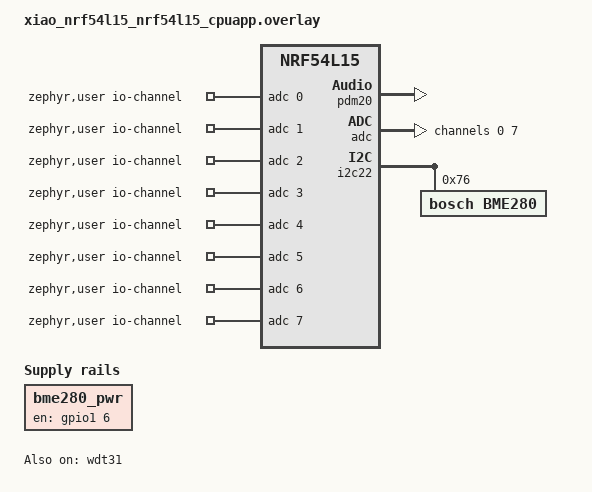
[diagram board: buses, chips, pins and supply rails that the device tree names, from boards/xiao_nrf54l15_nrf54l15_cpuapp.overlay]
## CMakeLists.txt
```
#
# Copyright (c) 2018 Nordic Semiconductor
#
# SPDX-License-Identifier: LicenseRef-Nordic-5-Clause
#
cmake_minimum_required(VERSION 3.20.0)

find_package(Zephyr REQUIRED HINTS $ENV{ZEPHYR_BASE})
project(NONE)

# NORDIC SDK APP START
target_sources(app PRIVATE src/main.cpp)
target_sources(app PRIVATE src/adc.c)
target_sources(app PRIVATE src/bme280.c)
target_sources(app PRIVATE src/wdt.c)
target_sources(app PRIVATE ../../src/BaseDevice.cpp)
target_sources(app PRIVATE ../../src/BtHomeV2Device.cpp)

# NORDIC SDK APP END
zephyr_library_include_directories(.)
```

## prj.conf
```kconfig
#
# Copyright (c) 2018 Nordic Semiconductor
#
# SPDX-License-Identifier: LicenseRef-Nordic-5-Clause
#
CONFIG_PM_DEVICE=y

# Bluetooth LE
# STEP 1 - Include the Bluetooth LE stack in your project
CONFIG_BT=y
CONFIG_BT_PERIPHERAL=y

# STEP 2 - Set the Bluetooth LE device name
# CONFIG_BT_DEVICE_NAME="Nordic_Beacon"
CONFIG_BT_DEVICE_NAME="NB"

CONFIG_ADC=y
CONFIG_I2C=y
CONFIG_SENSOR=y
CONFIG_SENSOR_ASYNC_API=y
CONFIG_REGULATOR=y
CONFIG_GPIO=y
CONFIG_BME280=y
CONFIG_BME280_MODE_FORCED=y
# CONFIG_PWM=y
CONFIG_WATCHDOG=y

CONFIG_NRFX_POWER=y
CONFIG_POWEROFF=y
CONFIG_RETAINED_MEM=y
CONFIG_STATIC_INIT_GNU=y

CONFIG_CPP=y
CONFIG_REQUIRES_FULL_LIBCPP=y
CONFIG_BT_EAD=y

# =========================================================
# Serial port and console configuration
# =========================================================
CONFIG_SERIAL=n
CONFIG_CONSOLE=y
CONFIG_UART_CONSOLE=y
CONFIG_CBPRINTF_FP_SUPPORT=y

# =========================================================
# Log and Debugging
# =========================================================
CONFIG_LOG=y
CONFIG_PRINTK=y
CONFIG_LOG_PRINTK=n
CONFIG_LOG_MODE_IMMEDIATE=n
CONFIG_LOG_DEFAULT_LEVEL=3

# =========================================================
#  Memory and Stack
# =========================================================
CONFIG_MAIN_STACK_SIZE=4096
CONFIG_HEAP_MEM_POOL_SIZE=16384
CONFIG_SYSTEM_WORKQUEUE_STACK_SIZE=4096
# CONFIG_NEWLIB_LIBC=y
# CONFIG_NEWLIB_LIBC_FLOAT_PRINTF=y
```

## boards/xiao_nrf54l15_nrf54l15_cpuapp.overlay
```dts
/ {
	zephyr,user {
		io-channels = <&adc 0>,
					  <&adc 1>,
					  <&adc 2>,
					  <&adc 3>,
					  <&adc 4>,
					  <&adc 5>,
					  <&adc 6>,
					  <&adc 7>;
	};
	bme280_pwr: bme280_pwr {
		compatible = "regulator-fixed";
		regulator-name = "bme280_pwr";
        // GPIO D2 = P1.6 on the XIAO nRF54L15
		enable-gpios = <&gpio1 6 GPIO_ACTIVE_HIGH>;
	};
};

&wdt31 {
	status = "okay";
};

dmic_dev: &pdm20 {
    status = "okay";
};

&vbat_pwr {
	/delete-property/ regulator-boot-on;
};

&rfsw_pwr {
	/delete-property/ regulator-boot-on;
};

&pdm_imu_pwr{
    /delete-property/ regulator-boot-on;
};

&temp {
	status = "disabled";
};

&adc {
	channel@0 {
		reg = <0>;
		zephyr,gain = "ADC_GAIN_2";
		zephyr,reference = "ADC_REF_INTERNAL";
		zephyr,acquisition-time = <0>;
		zephyr,input-positive = <NRF_SAADC_AIN0>;
		zephyr,input-negative = <NRF_SAADC_AIN1>;
		zephyr,differential;
		zephyr,resolution = <14>;
	};

	channel@7 {
		reg = <7>;
		zephyr,gain = "ADC_GAIN_1_4";
		zephyr,reference = "ADC_REF_INTERNAL";
		zephyr,acquisition-time = <0>;
		zephyr,resolution = <14>;
	};
};

&i2c22 {
	bme280@76 {
		compatible = "bosch,bme280";
		reg = <0x76>;
		zephyr,deferred-init;
	};
	zephyr,deferred-init;
};

/* Board alias often points xiao_serial -> &uart21; kill it to be safe. */
&uart21 {
	status = "disabled";
};
```

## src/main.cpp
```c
/*
  A ultra low power Home Assistant/BtHome temperature/humidity/pressure sensor device with XIAO nrf54L15
  Average current consumption is as low as 12µA! Can be even more reduced with longer sleep time.
  Current during LowPower.deepSleep() would be less, but waking up from deep sleep needs a lot of energy. 
  So LowPower.sleep() is the better choice for this sensor with TIME_TO_SLEEP=15s.
  At 12µA, the sensor should run for more than 3 years on a 350mAh LiPo battery.
 */

#include <zephyr/logging/log.h>

LOG_MODULE_REGISTER(SolarSensor54l15, LOG_LEVEL_INF);

#define USE_EXT_ANT			0
#define USE_BME280			1
#define USE_ENCRYPTION		1

#define TIME_TO_SLEEP		15
#define TIME_TO_SLEEP_LOW	(60*5)

#include <zephyr/bluetooth/bluetooth.h>
#include <zephyr/bluetooth/uuid.h>

#include <zephyr/drivers/regulator.h>
#include <zephyr/drivers/gpio.h>

#include <zephyr/device.h>
#include <zephyr/pm/device.h>
#include <zephyr/pm/device_runtime.h>

#include <zephyr/sys/poweroff.h>
#include <zephyr/drivers/timer/nrf_grtc_timer.h>
#include <zephyr/drivers/retained_mem.h>

#include "adc.h"
#include "bme280.h"
#include "wdt.h"
#include "../../src/BtHomeV2Device.h"
#include <string>

#if !DT_NODE_EXISTS(DT_PATH(zephyr_user)) || \
 !DT_NODE_HAS_PROP(DT_PATH(zephyr_user), io_channels)
	#error "No suitable devicetree overlay specified"
#endif

/****************************************** BTHOME KEY **********************************************/
#if USE_ENCRYPTION
//  91CDEC4192407AEC3F6FCF04AAB6F7A4
static const uint8_t bindKey[16] = {
	0x91, 0xCD, 0xEC, 0x41, 0x92, 0x40, 0x7A, 0xEC, 
	0x3F, 0x6F, 0xCF, 0x04, 0xAA, 0xB6, 0xF7, 0xA4 
};
#endif

/****************************************** WDT **********************************************/
#define WDT_MAX_WINDOW  ((TIME_TO_SLEEP_LOW + 60)*1000)
#define WDT_MIN_WINDOW  0U
#define WDT_OPT WDT_OPT_PAUSE_HALTED_BY_DBG

/****************************************** DEVICES **********************************************/
static const struct device *const vbat_reg = DEVICE_DT_GET(DT_NODELABEL(vbat_pwr));
static const struct device *const rfsw_pwr_reg = DEVICE_DT_GET(DT_NODELABEL(rfsw_pwr));
#if USE_EXT_ANT	
static const struct device *const rfsw_ctl_reg = DEVICE_DT_GET(DT_NODELABEL(rfsw_ctl));
#endif
static const struct device *const i2c22_dev = DEVICE_DT_GET(DT_NODELABEL(i2c22));
static const struct device *const i2c30_dev = DEVICE_DT_GET(DT_NODELABEL(i2c30));
static const struct gpio_dt_spec led = GPIO_DT_SPEC_GET(DT_ALIAS(led0), gpios);

/****************************************** BLINK_CODE **********************************************/
void blinkCode(int code)
{
	while(true) {
		for (int i = 0; i < code; i++) {
			gpio_pin_set_dt(&led, 0);
			k_sleep(K_MSEC(100));
			gpio_pin_set_dt(&led, 1);
			k_sleep(K_MSEC(300));
		}
		k_sleep(K_MSEC(1000));
	}
}

/****************************************** ADVERTISING **********************************************/
#define ADV_PARAM BT_LE_ADV_PARAM(BT_LE_ADV_OPT_USE_IDENTITY, \
				  32, \
				  33, NULL)

/****************************************** BTHome Header **********************************************/
static struct bt_data ad[] = {
	BT_DATA_BYTES(BT_DATA_FLAGS, BT_LE_AD_GENERAL | BT_LE_AD_NO_BREDR), // 3 bytes { len 0x02 type 0x01 data 0x06 }
	BT_DATA(BT_DATA_SVC_DATA16, NULL, 0)
};

int advertize(BtHomeV2Device *pDev)
{
	uint8_t advertisementData[MAX_ADVERTISEMENT_SIZE];
	uint8_t size = pDev->getAdvertisementData(advertisementData);
	// skip first 5 bytes, already in ad struct:
	// 1 length=(2)
	// 2 BT_DATA_FLAGS 
	// 3 BT_LE_AD_GENERAL | BT_LE_AD_NO_BREDR
	// 4 length=X 
	// 5 BT_DATA_SVC_DATA16
	ad[1].data_len = size - 5;
	ad[1].data = &advertisementData[5];

	/* Start advertising for 5+95ms */
	int err = bt_le_adv_start(ADV_PARAM, ad, ARRAY_SIZE(ad), NULL, 0);
	if (err) {
		LOG_ERR("Advertising failed to start (err %d)\n", err);
		return 0;
	}
	/* Flash led for 5ms */
	err = gpio_pin_set_dt(&led, 0);
	if (err < 0) {
		LOG_ERR("gpio_pin_set_dt failed (err %d)\n", err);
	}		
	k_sleep(K_MSEC(5));
	err = gpio_pin_set_dt(&led, 1);
	if (err < 0) {
		LOG_ERR("gpio_pin_set_dt failed (err %d)\n", err);
	}		
	k_sleep(K_MSEC(95));
	err = bt_le_adv_stop();
	if (err) {
		LOG_ERR("Advertising failed to stop (err %d)\n", err);
		return -1;
	}
	return 0;
}

/****************************************** MAIN **********************************************/

int main(void)
{
	int err;
	uint32_t counter = 0;

	LOG_INF("Starting BTHome sensor template\n");

	// Initialize watchdog
	int32_t wdt_channel_id = init_wdt(WDT_MIN_WINDOW, WDT_MAX_WINDOW, WDT_OPT);
	if (wdt_channel_id < 0) {
		return 0;
	}

	err = gpio_pin_configure_dt(&led, GPIO_OUTPUT_ACTIVE);
	if (err < 0) {
		LOG_ERR("LED GPIO configure failed %d\n", err);
  		return 0;
	}	
	err = gpio_pin_set_dt(&led, 0);
	if (err < 0) {
		LOG_ERR("gpio_pin_set_dt failed (err %d)\n", err);
	}
	// Suspend i2c30: save 145µA while sleeping
	err = pm_device_action_run(i2c30_dev, PM_DEVICE_ACTION_SUSPEND);
	if (err) {
		LOG_ERR("Suspend %s failed %d\n", i2c30_dev->name, err);
	}
	if (!gpio_is_ready_dt(&led)) {
		LOG_ERR("LED GPIO not ready\n");
  		return 0;
	}
	// ADC channel 0 for solar current
	err = adcSetup(0);
	if (err < 0) {
		return 0;
	}
	// ADC channel 7 for battery voltage
	err = adcSetup(7);
	if (err < 0) {
		return 0;
	}
	err = device_init(i2c22_dev);	
	if (err) {
		LOG_ERR("\nDevice %s init failed %d\n", i2c22_dev->name, err);
		return 0;
	}
#if USE_BME280	
	int err_bme280 = bme280_init();	
	if (err_bme280) {
		blinkCode(2);
		return err_bme280;
	}
#endif	
	err = pm_device_action_run(i2c22_dev, PM_DEVICE_ACTION_SUSPEND);
	if (err) {
		LOG_ERR("Suspend %s failed %d\n", i2c22_dev->name, err);
	}
#if USE_EXT_ANT	
	regulator_disable(rfsw_ctl_reg);	
#endif

	/* Initialize the Bluetooth Subsystem */
	err = bt_enable(NULL);
	if (err) {
		LOG_ERR("Bluetooth init failed (err %d)\n", err);
		return 0;
	}
	LOG_INF("Bluetooth initialized\n");

#if USE_ENCRYPTION
	bt_le_oob oob;
	bt_le_oob_get_local(BT_ID_DEFAULT, &oob);
	// Leave short and complete name empty, device will be identified by MAC address
	BtHomeV2Device dev("", "", false, bindKey, oob.addr.a.val);
#else
	BtHomeV2Device dev("", "", true);
#endif		

	while(1) {
		feed_wdt(wdt_channel_id);

#if USE_BME280	
		err = pm_device_action_run(i2c22_dev, PM_DEVICE_ACTION_RESUME);
		if (err != 0) {
			LOG_ERR("%s: pm_device_action_run() RESUME failed: %d\n", i2c22_dev->name, err);
		}
		float temp = 0, hum = 0, press = 0;
		err = bme280_read(&temp, &hum, &press);
		if (err != 0) {
			return err;
		}
		// Suspend i2c22: save 100µA while sleeping
		err = pm_device_action_run(i2c22_dev, PM_DEVICE_ACTION_SUSPEND);
		if (err != 0) {
			LOG_ERR("%s: pm_device_action_run() SUSPEND failed: %d\n", i2c22_dev->name, err);
		}		
#endif		
		int32_t val_mv;
		regulator_enable(vbat_reg);	
		// Wait 5ms for voltage divider to settle
		k_sleep(K_MSEC(5));		
		// Read battery voltage on channel 7 (pin AIN7/P1.14)
		adcRead(&val_mv, NULL, 7);
		// Disable battery voltage divider switch supply: save 250µA while sleeping
	 	regulator_disable(vbat_reg);
		// Voltage divider divides by 2
		val_mv *= 2;

		int32_t raw;
		// Read solar current on channel 0 (differential mode, pins AIN0/P1.04 and AIN1/P1.05)
		adcRead(NULL, &raw, 0);
		// shunt 10R, 14bits resolution, internal reference (0.9V), gain 2, oversampling 8
		int32_t current_ua = raw*90000/16383;

		counter++;

		// Enable antenna switch supply
		regulator_enable(rfsw_pwr_reg);	

		// Collect data for advertising packet 1
		dev.resetMeasurement();

		// Available bytes with encryption: 11, else 23
		// 11
		if (!dev.addCount_0_4294967295(counter)) {
			LOG_ERR("addCount_0_4294967295 failed");
		}
		// 6
		if (!dev.addVoltage_0_to_65_resolution_0_001(val_mv*0.001f)) {
			LOG_ERR("addVoltage_0_to_65_resolution_0_001 failed");
		}
		// 3
		if (!dev.addTemperature_neg327_to_327_Resolution_0_01(temp)) {
			LOG_ERR("addTemperature_neg327_to_327_Resolution_0_01 failed");
		}
		// 0
		// Advertize packet 1
		advertize(&dev);

		// Collect data for advertising packet 2
		dev.resetMeasurement();
		// 11
		if (bme280_chipId() == BME280_CHIP_ID) {
			if (!dev.addHumidityPercent_Resolution_0_01(hum)) {
				LOG_ERR("addHumidityPercent_Resolution_0_01 failed");
			}
		}
		// 7
		if (!dev.addCurrentAmps_neg32_to_32_Resolution_0_001(current_ua*0.001f)) {
			LOG_ERR("addCurrentAmps_neg32_to_32_Resolution_0_001 failed");
		}
		// 4
		if (!dev.addPressureHpa(press)) {
			LOG_ERR("addPressureHpa failed");
		}
		// 0
		// Advertize packet 2
		advertize(&dev);

		// Disable antenna switch supply: save 67µA while sleeping
		regulator_disable(rfsw_pwr_reg);
		if (val_mv < 3500) {
			k_sleep(K_MSEC(TIME_TO_SLEEP_LOW*1000));
		} else {
			k_sleep(K_MSEC(TIME_TO_SLEEP*1000));
		}
	}
	return 0;
}
```

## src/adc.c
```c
/*
  Wrapper for ADC
 */

#include "adc.h"

LOG_MODULE_REGISTER(SolarSensor54l15AnalogIO, LOG_LEVEL_INF);

#define DT_SPEC_AND_COMMA(node_id, prop, idx) ADC_DT_SPEC_GET_BY_IDX(node_id, idx),

/* Data of ADC io-channels specified in devicetree. */
static const struct adc_dt_spec adc_channels[] = {
 	DT_FOREACH_PROP_ELEM(DT_PATH(zephyr_user), io_channels, DT_SPEC_AND_COMMA)
};

/**
 * 
 */
int adcSetup(uint8_t channel)
{
	int err;

	LOG_INF("channel %d gain %d", channel, adc_channels[channel].channel_cfg.gain);

 	/* Configure channels individually prior to sampling. */
 	if (!adc_is_ready_dt(&adc_channels[channel])) {
  		LOG_ERR("ADC controller device %s not ready\n", adc_channels[channel].dev->name);
  		return -1;
 	}

 	err = adc_channel_setup_dt(&adc_channels[channel]);
 	if (err < 0) {
  		LOG_ERR("Could not setup channel #%d (%d)\n", channel, err);
  		return -1;
 	}

	return 0;
}

int adcRead(int32_t *pValMV, int32_t *pRaw, uint8_t channel)
{
	int err;
	uint16_t buf;
	
	struct adc_sequence sequence = {
		.buffer = &buf,
		/* buffer size in bytes, not number of samples */
		.buffer_size = sizeof(buf),
	};

 	(void)adc_sequence_init_dt(&adc_channels[channel], &sequence);

 	err = adc_read_dt(&adc_channels[channel], &sequence);
 	if (err < 0) {
  		LOG_ERR("Could not read (%d)\n", err);
  		return err;
 	}	

 	/*
  	 * If using differential mode, the 16 bit value
     * in the ADC sample buffer should be a signed 2's
     * complement value.
  	*/
	int32_t raw;
 	if (adc_channels[channel].channel_cfg.differential) {
  		raw = (int32_t)((int16_t)buf);
 	} else {
  		raw = (int32_t)buf;
 	}
	if (pRaw != NULL) {
		*pRaw = raw;
	}
	uint32_t tmp = raw;
	if (pValMV != NULL) {
		err = adc_raw_to_millivolts_dt(&adc_channels[channel], &raw);
		/* conversion to mV may not be supported, skip if not */
		if (err < 0) {
			LOG_ERR(" value in mV not available\n");
			return err;
		}
		LOG_INF("channel %d voltage = %" PRId32 " mV raw = %d\n", channel, raw, tmp);
		*pValMV = raw;
	} else {
		LOG_INF("channel %d raw = %d\n", channel, raw);
	}
	return 0;
}
```

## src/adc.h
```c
#pragma once
/*
  Wrapper for ADC
 */

#include <zephyr/logging/log.h>
#include <zephyr/drivers/adc.h>

#ifdef __cplusplus
extern "C" {
#endif

/**
 * @brief Initialize given ADC channel
 *
 * @param channel index of ADC channel
 *
 * @retval 0 if initialization was successfull, negative value otherwise
 */
extern int adcSetup(uint8_t channel);
/**
 * @brief Read value from ADC channel
 *
 * @param pValMV pointer to result in milli volts, may be NULL
 * @param pRaw pointer to raw value, may be NULL
 *
 * @retval 0 if value could be read, negative value otherwise
 */
extern int adcRead(int32_t *pValMV, int32_t *pRaw, uint8_t channel);

#ifdef __cplusplus
}
#endif
```

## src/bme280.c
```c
/*
  Wrapper for Bosch BME280/BMP280
 */

#include "bme280.h"

LOG_MODULE_REGISTER(SolarSensor54l15bme280, LOG_LEVEL_INF);

SENSOR_DT_READ_IODEV(iodev, DT_COMPAT_GET_ANY_STATUS_OKAY(bosch_bme280),
		{SENSOR_CHAN_AMBIENT_TEMP, 0},
		{SENSOR_CHAN_HUMIDITY, 0},
		{SENSOR_CHAN_PRESS, 0});

RTIO_DEFINE(ctx, 1, 1);

static const struct device *const bme280_dev = DEVICE_DT_GET_ANY(bosch_bme280);

int bme280_init(void)
{
	int err = device_init(bme280_dev);	
	if (err) {
		LOG_ERR("\nDevice %s init failed %d\n", bme280_dev->name, err);
		return err;
	}
	err = pm_device_action_run(bme280_dev, PM_DEVICE_ACTION_SUSPEND);
	if (err) {
		LOG_ERR("\nDevice %s pm_device_action_run failed %d\n", bme280_dev->name, err);
		return err;
	}
    return 0;
}

int bme280_check_device(void)
{
	if (bme280_dev == NULL) {
		/* No such node, or the node does not have status "okay". */
		LOG_ERR("\nError: no device found.\n");
		return -1;
	}
	if (!device_is_ready(bme280_dev)) {
		LOG_ERR("Error: Device \"%s\" is not ready; "
		       "check the driver initialization logs for errors.\n",
		       bme280_dev->name);
		return -2;
	}

	LOG_INF("Found device \"%s\", getting sensor data\n", bme280_dev->name);
	return 0;
}

int bme280_chipId(void)
{
    if (bme280_dev != NULL && bme280_dev->state->initialized) {
        const struct bme280_data *pData = (const struct bme280_data *)bme280_dev->data;
        return pData->chip_id;        
    }
    return BMX280_CHIP_ID_NA;
}

int bme280_read(float *pTemp, float *pHum, float *pPress)
{
    int err;
	uint8_t buf[128];
    
    if (bme280_dev != NULL) {
        err = pm_device_action_run(bme280_dev, PM_DEVICE_ACTION_RESUME);
        if (err != 0) {
            LOG_ERR("%s: pm_device_action_run() RESUME failed: %d\n", bme280_dev->name, err);
        }
        err = bme280_check_device();

        if (err == 0) {

            // bme280_channel_get
            err = sensor_read(&iodev, &ctx, buf, 128);
            if (err != 0) {
                LOG_ERR("%s: sensor_read() failed: %d\n", bme280_dev->name, err);
                return err;
            }
            const struct sensor_decoder_api *decoder;
            err = sensor_get_decoder(bme280_dev, &decoder);

            if (err != 0) {
                LOG_ERR("%s: sensor_get_decode() failed: %d\n", bme280_dev->name, err);
                return err;
            }		
            
            if (pTemp != NULL) {
                uint32_t temp_fit = 0;
                struct sensor_q31_data temp_data = {0};                
                if (decoder->decode(buf, (struct sensor_chan_spec) {SENSOR_CHAN_AMBIENT_TEMP, 0}, &temp_fit, 1, &temp_data) > 0)
                {
                    *pTemp = temp_data.readings[0].temperature*1.0f/32768.0f;
                    LOG_INF("temp: %.2f", (double)*pTemp);
                }
            }

            if (pPress != NULL) {
                uint32_t press_fit = 0;
                struct sensor_q31_data press_data = {0};
                if (decoder->decode(buf, (struct sensor_chan_spec) {SENSOR_CHAN_PRESS, 0}, &press_fit, 1, &press_data) > 0)
                {
                    *pPress = press_data.readings[0].pressure*10.0f/256.0f;
                    LOG_INF("press: %.2f", (double)*pPress);
                }
            }

            if (pHum != NULL && bme280_chipId() == BME280_CHIP_ID) {
                uint32_t hum_fit = 0;
                struct sensor_q31_data hum_data = {0};
                if (decoder->decode(buf, (struct sensor_chan_spec) {SENSOR_CHAN_HUMIDITY, 0}, &hum_fit, 1, &hum_data) > 0) 
                {
                    *pHum = hum_data.readings[0].humidity*1.0f/1024.0f;
                    LOG_INF("hum: %.2f", (double)*pHum);
                }
            }
        }
        err = pm_device_action_run(bme280_dev, PM_DEVICE_ACTION_SUSPEND);
        if (err != 0) {
            LOG_ERR("%s: pm_device_action_run() SUSPEND failed: %d\n", bme280_dev->name, err);
        }
    }
    return 0;
}
```

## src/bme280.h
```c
#pragma once

/*
  Wrapper for Bosch BME280/BMP280
 */

#include <zephyr/logging/log.h>
#include <zephyr/drivers/sensor.h>
#include <zephyr/device.h>
#include <zephyr/pm/device.h>
#include <zephyr/pm/device_runtime.h>

#ifdef __cplusplus
extern "C" {
#endif

#define BMX280_CHIP_ID_NA       0x00
#define BMP280_CHIP_ID_MP       0x58
#define BME280_CHIP_ID          0x60

struct bme280_decoder_header {
	uint64_t timestamp;
} __attribute__((__packed__));

struct bme280_reading {
	/* Compensated values. */
	int32_t comp_temp;
	uint32_t comp_press;
	uint32_t comp_humidity;
};

struct bme280_encoded_data {
	struct bme280_decoder_header header;
	struct {
		/** Set if `temp` has data */
		uint8_t has_temp: 1;
		/** Set if `press` has data */
		uint8_t has_press: 1;
		/** Set if `humidity` has data */
		uint8_t has_humidity: 1;
	} __attribute__((__packed__));
	struct bme280_reading reading;
};

struct bme280_data {
	/* Compensation parameters. */
	uint16_t dig_t1;
	int16_t dig_t2;
	int16_t dig_t3;
	uint16_t dig_p1;
	int16_t dig_p2;
	int16_t dig_p3;
	int16_t dig_p4;
	int16_t dig_p5;
	int16_t dig_p6;
	int16_t dig_p7;
	int16_t dig_p8;
	int16_t dig_p9;
	uint8_t dig_h1;
	int16_t dig_h2;
	uint8_t dig_h3;
	int16_t dig_h4;
	int16_t dig_h5;
	int8_t dig_h6;

	/* Carryover between temperature and pressure/humidity compensation. */
	int32_t t_fine;

	uint8_t chip_id;

	struct bme280_reading reading;
};

/**
 * @brief Initialize sensor
 *
 * @retval 0 if initialization was successfull, negative value otherwise
 */
extern int bme280_init(void);
/**
 * @brief Check if sensor is ready
 *
 * @retval 0 if sensor is ready, negative value otherwise
 */
extern int bme280_check_device(void);
/**
 * @brief Read values from sensor
 *
 * @param pTemp pointer to temperature value in °C, may be NULL
 * @param pHum pointer to humidity value on %, may be NULL
 * @param pPress pointer to pressure in hPa, may be NULL
 * 
 * @retval 0 if sensor could be read, negative value otherwise
 */
extern int bme280_read(float *pTemp, float *pHum, float *pPress);
/**
 * @brief Get chip ID
 * 
 * @retval BMX280_CHIP_ID_NA: unknown device, BMP280_CHIP_ID_MP: BMP280, BME280_CHIP_ID: BME280
 */
extern int bme280_chipId(void);

#ifdef __cplusplus
}
#endif
```

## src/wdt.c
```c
/*
  Wrapper for watchdog timer
 */

#include "wdt.h"

LOG_MODULE_REGISTER(SolarSensor54l15wdt, LOG_LEVEL_INF);

static const struct device *const wdt = DEVICE_DT_GET(DT_ALIAS(watchdog0));

int init_wdt(int32_t minWindow, int32_t maxWindow, int32_t options)
{
	if (!device_is_ready(wdt)) {
		LOG_ERR("%s: device not ready.\n", wdt->name);
		return -1;
	}	
	struct wdt_timeout_cfg wdt_config = {
		/* Reset SoC when watchdog timer expires. */
		.flags = WDT_FLAG_RESET_SOC,
		/* Expire watchdog after max window */
		.window.min = minWindow,
		.window.max = maxWindow,
	};	
	int wdt_channel_id = wdt_install_timeout(wdt, &wdt_config);
	if (wdt_channel_id < 0) {
		LOG_ERR("Watchdog install error\n");
		return -2;
	}
	int err = wdt_setup(wdt, options);
	if (err < 0) {
		LOG_ERR("Watchdog setup error\n");
		return -3;
	}
    return wdt_channel_id;
}

void feed_wdt(int32_t wdt_channel_id)
{
	wdt_feed(wdt, wdt_channel_id);
}
```

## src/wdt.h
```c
#pragma once

/*
  Wrapper for watchdog timer
 */

#include <zephyr/logging/log.h>
#include <zephyr/drivers/watchdog.h>

#ifdef __cplusplus
extern "C" {
#endif

/**
 * @brief Initialize watchdog timer
 *
 * @param minWindow Lower limit of watchdog feed timeout in milliseconds
 * @param maxWindow Upper limit of watchdog feed timeout in milliseconds
 * @param options configuration options (see WDT_OPT)
 * 
 * @retval channel id if initialization was successfull, negative value otherwise
 */
extern int init_wdt(int32_t minWindow, int32_t maxWindow, int32_t options);
/**
 * @brief Feed watchdog timer
 * 
 * @param wdt_channel_id id returned by init_wdt
 */
extern void feed_wdt(int32_t wdt_channel_id);

#ifdef __cplusplus
}
#endif
```
